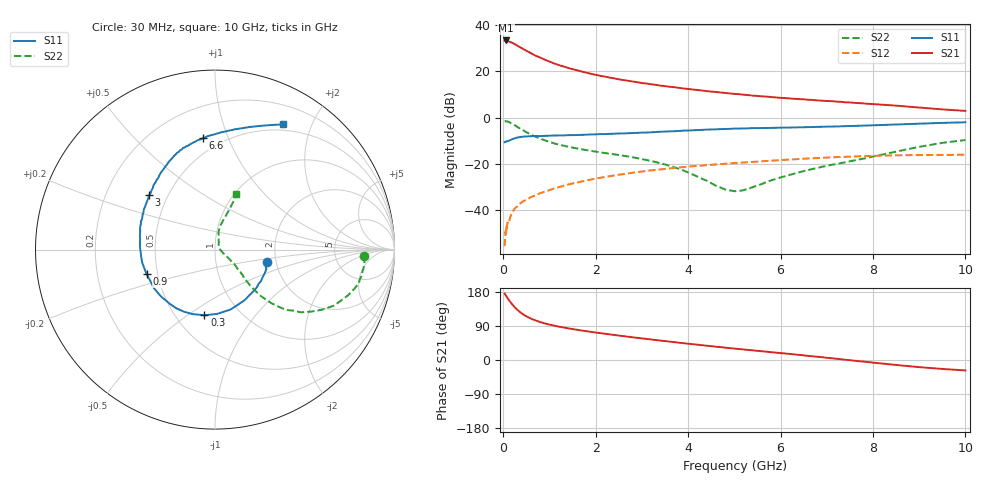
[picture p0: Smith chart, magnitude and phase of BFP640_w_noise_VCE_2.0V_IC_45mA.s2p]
! Infineon Technologies  Discrete & RF Semiconductors
! BFP640
! VCE =  2.0 V,  IC =  45 mA
! Common Emitter S-Parameters:  Apr 2013
# GHz  S  MA  R  50
!  f  S11  S21  S12  S22
! GHz  MAG  ANG  MAG  ANG  MAG  ANG  MAG  ANG
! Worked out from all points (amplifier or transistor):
!   99 points, 30 MHz to 10 GHz, reference 50 ohm
!   highest |S21| = 33.3 dB at 60 MHz (marker M1)
!   |S21| within 3 dB of that: start of sweep to 370.7 MHz
!   unconditionally stable (mu >= 1): start of sweep to 46.75 MHz; 57.3 MHz to 61.36 MHz; 1.181 GHz to end of sweep
!   at 350 MHz: K = 0.63, MSG = 33.8 dB, |S12| = -37.2 dB
!   at 3.5 GHz: K = 1.13, MAG = 15.6 dB, |S12| = -22.1 dB
!   at 10 GHz: K = 1.11, MAG = 7.4 dB, |S12| = -16.0 dB
!   lowest NFmin = 1.34 dB at 450 MHz
!   S11 on the Smith chart (normalised r, x): 30 MHz: 1.78, -0.26; 300 MHz: 0.69, -0.58; 900 MHz: 0.43, -0.14; 3 GHz: 0.39, +0.31; 6.6 GHz: 0.40, +0.82; 10 GHz: 0.42, +1.60
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0.03  0.2948 -13.2  45.01 175.2  0.0017 60.5  0.8326 -2.4
0.06  0.3067 -25.5  46 169.8  0.0029 76.2  0.8344 -7.0
0.09  0.309 -38.3  44.97 164.0  0.0055 66.6  0.824 -11.6
0.12  0.3169 -50.0  43.75 158.8  0.0061 71.3  0.8062 -15.8
0.2  0.3449 -75.5  40.66 146.0  0.0093 69.8  0.7344 -25.1
0.25  0.3589 -88.5  38.34 139.2  0.0111 66.4  0.6842 -29.3
0.3  0.3703 -99.1  35.96 133.0  0.0121 64.9  0.6363 -32.9
0.35  0.3798 -108.7  33.33 127.7  0.0138 63.5  0.5929 -36.1
0.45  0.3915 -123.1  29.35 118.9  0.0161 62.5  0.5213 -40.2
0.6  0.3984 -139.2  24.42 109.2  0.0194 61.0  0.4319 -43.6
0.7  0.4025 -147.7  21.59 104.3  0.0212 60.9  0.3879 -44.7
0.9  0.405 -160.1  17.72 96.5  0.0254 61.3  0.3239 -45.6
1.2  0.4131 -174.4  13.63 88.2  0.0316 61.0  0.2625 -45.2
1.7  0.4259 169.1  9.828 77.8  0.042 58.7  0.2077 -42.5
2.3  0.4472 154.6  7.294 67.6  0.0546 54.9  0.1672 -40.7
3  0.4761 140.5  5.567 57.0  0.0689 49.7  0.1278 -36.3
3.4  0.4971 133.3  4.891 51.3  0.0766 46.2  0.1039 -34.7
5.1  0.5802 110.4  3.202 29.0  0.1064 31.7  0.0262 29.8
6.6  0.6243 96.1  2.432 10.9  0.1315 18.9  0.0743 74.6
6.7  0.6277 95.0  2.401 9.7  0.133 17.9  0.0786 75.3
8.5  0.7109 74.0  1.812 -13.1  0.154 -0.0  0.1851 73.1
10  0.7939 61.5  1.397 -27.5  0.1587 -11.4  0.329 69.5
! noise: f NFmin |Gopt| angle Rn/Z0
0.45  1.34  0.29  -171  0.08
0.9  1.35  0.32  -158  0.09
1.5  1.36  0.35  -145  0.12
1.9  1.39  0.36  222  0.14
2.4  1.47  0.38  -126  0.16
3.5  1.6  0.42  -109  0.2
5.5  1.85  0.45  -92  0.34
10  2.45  0.65  -47  0.99
